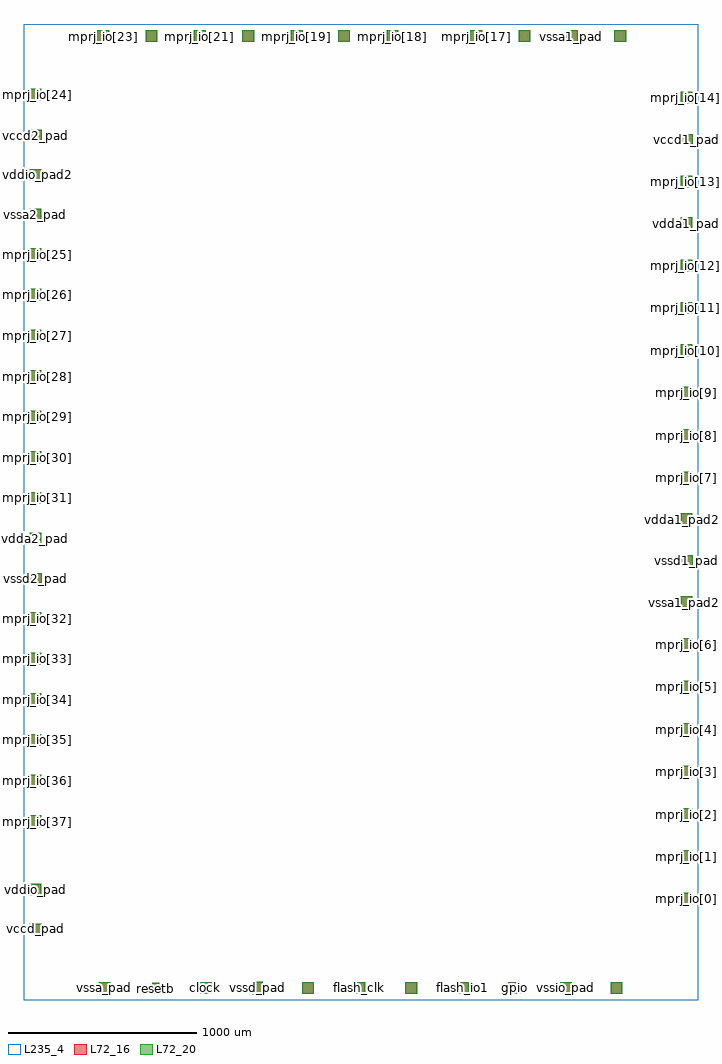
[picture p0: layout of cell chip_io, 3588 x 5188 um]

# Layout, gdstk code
import gdstk
lib = gdstk.Library(unit=1e-6, precision=1e-09)
def R(c, l, rs):  # rectangles x0, y0, x1, y1
    for r in rs: c.add(gdstk.rectangle(r[:2], r[2:], *l))
def A(c, l, x, y, w, h, nx, ny, dx, dy):  # array of equal rectangles
    R(c, l, [(x+i*dx, y+j*dy, x+i*dx+w, y+j*dy+h) for i in range(nx) for j in range(ny)])
L72_16 = (72, 16)
L72_20 = (72, 20)
L235_4 = (235, 4)

chip_io = lib.new_cell('chip_io')
A(chip_io, L72_16, 1481.2, 32.99, 62.7, 62.45, 5, 1, 274, 0)
A(chip_io, L72_16, 32.99, 919.1, 62.45, 62.7, 1, 6, 0, 216)
A(chip_io, L72_16, 3492.56, 1183.2, 62.45, 62.7, 1, 3, 0, 225)
A(chip_io, L72_16, 32.99, 2637.1, 62.45, 62.7, 1, 7, 0, 216)
A(chip_io, L72_16, 3492.56, 3422.2, 62.45, 62.7, 1, 3, 0, 225)
R(chip_io, L72_16, [(1216.33,30.835,1270.73,98.095), (938.2,32.99,1000.9,95.44), (401.11,34.055,461.95,94.875), (2852.11,34.055,2912.95,94.875), (3121.11,34.055,3181.95,94.875), (683.565,35.715,720.745,91.545), (30.835,350.27,98.095,404.67), (3492.56,506.2,3555.01,568.9), (34.055,558.05,94.875,618.89), (3492.56,732.2,3555.01,794.9), (3492.56,957.2,3555.01,1019.9), (3492.56,1859.2,3555.01,1921.9), (3493.12,2085.11,3553.94,2145.95), (30.835,2214.27,98.095,2268.67), (3489.9,2309.33,3557.16,2363.73), (34.055,2422.05,94.875,2482.89), (3493.12,2526.11,3553.94,2586.95), (3492.56,2745.2,3555.01,2807.9), (3492.56,2971.2,3555.01,3033.9), (3492.56,3196.2,3555.01,3258.9), (3493.12,4099.11,3553.94,4159.95), (34.055,4145.05,94.875,4205.89), (3492.56,4318.2,3555.01,4380.9), (34.055,4356.05,94.875,4416.89), (3489.9,4548.33,3557.16,4602.73), (30.835,4570.27,98.095,4624.67), (3492.56,4764.2,3555.01,4826.9), (32.99,4782.1,95.44,4844.8), (649.225,5092.435,711.675,5155.135), (392.1,5092.56,454.8,5155.01), (906.1,5092.56,968.8,5155.01), (1163.1,5092.56,1225.8,5155.01), (1421.1,5092.56,1483.8,5155.01), (1930.1,5092.56,1992.8,5155.01), (2375.1,5092.56,2437.8,5155.01), (2632.1,5092.56,2694.8,5155.01), (3141.1,5092.56,3203.8,5155.01), (1674.05,5093.12,1734.89,5153.94), (2885.05,5093.12,2945.89,5153.94)])
A(chip_io, L72_20, 1481.2, 32.99, 62.6, 62.45, 5, 1, 274, 0)
A(chip_io, L72_20, 32.99, 919.2, 62.45, 62.6, 1, 6, 0, 216)
A(chip_io, L72_20, 3492.56, 1183.2, 62.45, 62.6, 1, 3, 0, 225)
A(chip_io, L72_20, 32.99, 2637.2, 62.45, 62.6, 1, 7, 0, 216)
A(chip_io, L72_20, 3492.56, 3422.2, 62.45, 62.6, 1, 3, 0, 225)
A(chip_io, L72_20, 392.2, 5092.56, 62.6, 62.45, 4, 1, 257, 0)
R(chip_io, L72_20, [(1216.33,30.835,1270.73,98.095), (938.2,32.99,1000.8,95.44), (401.11,34.055,461.95,94.875), (2852.11,34.055,2912.95,94.875), (3121.11,34.055,3181.95,94.875), (683.565,35.715,720.745,91.545), (30.835,350.27,98.095,404.67), (3492.56,506.2,3555.01,568.8), (34.055,558.05,94.875,618.89), (3492.56,732.2,3555.01,794.8), (3492.56,957.2,3555.01,1019.8), (3492.56,1859.2,3555.01,1921.8), (3493.12,2085.11,3553.94,2145.95), (30.835,2214.27,98.095,2268.67), (3489.9,2309.33,3557.16,2363.73), (34.055,2422.05,94.875,2482.89), (3493.12,2526.11,3553.94,2586.95), (3492.56,2745.2,3555.01,2807.8), (3492.56,2971.2,3555.01,3033.8), (3492.56,3196.2,3555.01,3258.8), (3493.12,4099.11,3553.94,4159.95), (34.055,4145.05,94.875,4205.89), (3492.56,4318.2,3555.01,4380.8), (34.055,4356.05,94.875,4416.89), (3489.9,4548.33,3557.16,4602.73), (30.835,4570.27,98.095,4624.67), (3492.56,4764.2,3555.01,4826.8), (32.99,4782.2,95.44,4844.8), (1421.2,5092.56,1483.8,5155.01), (1930.2,5092.56,1992.8,5155.01), (2375.2,5092.56,2437.8,5155.01), (2632.2,5092.56,2694.8,5155.01), (3141.2,5092.56,3203.8,5155.01), (1674.05,5093.12,1734.89,5153.94), (2885.05,5093.12,2945.89,5153.94)])
R(chip_io, L235_4, [(0,0,3588,5188)])
chip_io.add(gdstk.Label('mprj_io[23]', (423.45,5123.785), layer=72, texttype=16))
chip_io.add(gdstk.Label('mprj_io[22]', (680.45,5123.785), layer=72, texttype=16))
chip_io.add(gdstk.Label('mprj_io[21]', (937.45,5123.785), layer=72, texttype=16))
chip_io.add(gdstk.Label('mprj_io[20]', (1194.45,5123.785), layer=72, texttype=16))
chip_io.add(gdstk.Label('mprj_io[19]', (1452.45,5123.785), layer=72, texttype=16))
chip_io.add(gdstk.Label('vssio_pad2', (1704.47,5123.53), layer=72, texttype=16))
chip_io.add(gdstk.Label('mprj_io[18]', (1961.45,5123.785), layer=72, texttype=16))
chip_io.add(gdstk.Label('mprj_io[17]', (2406.45,5123.785), layer=72, texttype=16))
chip_io.add(gdstk.Label('mprj_io[16]', (2663.45,5123.785), layer=72, texttype=16))
chip_io.add(gdstk.Label('vssa1_pad', (2915.47,5123.53), layer=72, texttype=16))
chip_io.add(gdstk.Label('mprj_io[15]', (3172.45,5123.785), layer=72, texttype=16))
chip_io.add(gdstk.Label('resetb', (702.155,63.63), layer=72, texttype=16))
chip_io.add(gdstk.Label('clock', (969.55,64.215), layer=72, texttype=16))
chip_io.add(gdstk.Label('vssd_pad', (1243.53,64.465), layer=72, texttype=16))
chip_io.add(gdstk.Label('flash_csb', (1512.55,64.215), layer=72, texttype=16))
chip_io.add(gdstk.Label('flash_clk', (1786.55,64.215), layer=72, texttype=16))
chip_io.add(gdstk.Label('flash_io0', (2060.55,64.215), layer=72, texttype=16))
chip_io.add(gdstk.Label('flash_io1', (2334.55,64.215), layer=72, texttype=16))
chip_io.add(gdstk.Label('gpio', (2608.55,64.215), layer=72, texttype=16))
chip_io.add(gdstk.Label('vssio_pad', (2882.53,64.465), layer=72, texttype=16))
chip_io.add(gdstk.Label('vdda_pad', (3151.53,64.465), layer=72, texttype=16))
chip_io.add(gdstk.Label('vssa_pad', (431.53,64.465), layer=72, texttype=16))
chip_io.add(gdstk.Label('vccd_pad', (64.465,377.47), layer=72, texttype=16))
chip_io.add(gdstk.Label('vddio_pad', (64.465,588.47), layer=72, texttype=16))
chip_io.add(gdstk.Label('vddio_pad2', (64.465,4386.47), layer=72, texttype=16))
chip_io.add(gdstk.Label('mprj_io[0]', (3523.785,537.55), layer=72, texttype=16))
chip_io.add(gdstk.Label('mprj_io[10]', (3523.785,3453.55), layer=72, texttype=16))
chip_io.add(gdstk.Label('mprj_io[11]', (3523.785,3678.55), layer=72, texttype=16))
chip_io.add(gdstk.Label('mprj_io[12]', (3523.785,3903.55), layer=72, texttype=16))
chip_io.add(gdstk.Label('mprj_io[13]', (3523.785,4349.55), layer=72, texttype=16))
chip_io.add(gdstk.Label('mprj_io[14]', (3523.785,4795.55), layer=72, texttype=16))
chip_io.add(gdstk.Label('mprj_io[1]', (3523.785,763.55), layer=72, texttype=16))
chip_io.add(gdstk.Label('mprj_io[2]', (3523.785,988.55), layer=72, texttype=16))
chip_io.add(gdstk.Label('mprj_io[3]', (3523.785,1214.55), layer=72, texttype=16))
chip_io.add(gdstk.Label('mprj_io[4]', (3523.785,1439.55), layer=72, texttype=16))
chip_io.add(gdstk.Label('mprj_io[5]', (3523.785,1664.55), layer=72, texttype=16))
chip_io.add(gdstk.Label('mprj_io[6]', (3523.785,1890.55), layer=72, texttype=16))
chip_io.add(gdstk.Label('mprj_io[7]', (3523.785,2776.55), layer=72, texttype=16))
chip_io.add(gdstk.Label('mprj_io[8]', (3523.785,3002.55), layer=72, texttype=16))
chip_io.add(gdstk.Label('mprj_io[9]', (3523.785,3227.55), layer=72, texttype=16))
chip_io.add(gdstk.Label('mprj_io[29]', (64.215,3100.45), layer=72, texttype=16))
chip_io.add(gdstk.Label('mprj_io[30]', (64.215,2884.45), layer=72, texttype=16))
chip_io.add(gdstk.Label('mprj_io[31]', (64.215,2668.45), layer=72, texttype=16))
chip_io.add(gdstk.Label('mprj_io[32]', (64.215,2030.45), layer=72, texttype=16))
chip_io.add(gdstk.Label('mprj_io[33]', (64.215,1814.45), layer=72, texttype=16))
chip_io.add(gdstk.Label('mprj_io[34]', (64.215,1598.45), layer=72, texttype=16))
chip_io.add(gdstk.Label('mprj_io[35]', (64.215,1382.45), layer=72, texttype=16))
chip_io.add(gdstk.Label('mprj_io[36]', (64.215,1166.45), layer=72, texttype=16))
chip_io.add(gdstk.Label('mprj_io[37]', (64.215,950.45), layer=72, texttype=16))
chip_io.add(gdstk.Label('mprj_io[24]', (64.215,4813.45), layer=72, texttype=16))
chip_io.add(gdstk.Label('mprj_io[25]', (64.215,3964.45), layer=72, texttype=16))
chip_io.add(gdstk.Label('mprj_io[26]', (64.215,3748.45), layer=72, texttype=16))
chip_io.add(gdstk.Label('mprj_io[27]', (64.215,3532.45), layer=72, texttype=16))
chip_io.add(gdstk.Label('mprj_io[28]', (64.215,3316.45), layer=72, texttype=16))
chip_io.add(gdstk.Label('vccd1_pad', (3523.53,4575.53), layer=72, texttype=16))
chip_io.add(gdstk.Label('vdda1_pad', (3523.53,4129.53), layer=72, texttype=16))
chip_io.add(gdstk.Label('vdda1_pad2', (3523.53,2556.53), layer=72, texttype=16))
chip_io.add(gdstk.Label('vssa1_pad2', (3523.53,2115.53), layer=72, texttype=16))
chip_io.add(gdstk.Label('vssd1_pad', (3523.53,2336.53), layer=72, texttype=16))
chip_io.add(gdstk.Label('vccd2_pad', (64.465,4597.47), layer=72, texttype=16))
chip_io.add(gdstk.Label('vdda2_pad', (64.465,2452.47), layer=72, texttype=16))
chip_io.add(gdstk.Label('vssa2_pad', (64.465,4175.47), layer=72, texttype=16))
chip_io.add(gdstk.Label('vssd2_pad', (64.465,2241.47), layer=72, texttype=16))

lib.write_gds('chip_io.gds')
